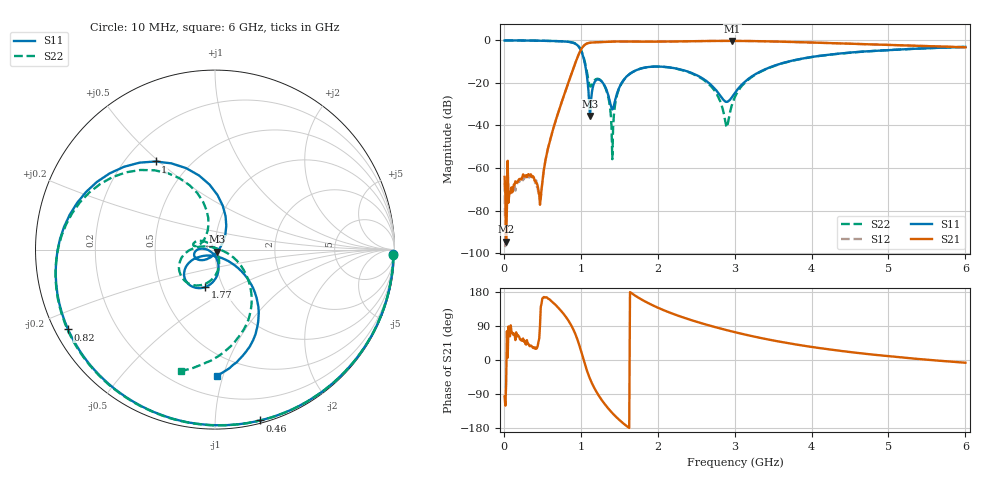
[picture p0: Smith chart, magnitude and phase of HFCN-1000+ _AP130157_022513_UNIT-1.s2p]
!Mini-Circuits Laboratory
!S-Parameters
!Model:HFCN-1000+
!Run/Lot/Date Code: CS0100//N/A
!DATA FOR: UNIT# 1
!Fixture/SN/Due: N/A
!Connection: PORT-1 - pin<1>; PORT-2 - pin<3>
!PORT EXTENSION IS DONE ON TEST BOARD(TB-270)
!Created: 02-25-2013 at 10:37 AM
# MHZ S DB R 50
!Frequency  S11 dB  S11 DEG  S21 dB  S21 DEG  S12 dB  S12 DEG  S22 dB  S22 DEG
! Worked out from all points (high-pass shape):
!   600 points, 10 MHz to 6 GHz, reference 50 ohm
!   highest |S21| = -0.24 dB at 2.97 GHz (marker M1); lowest = -94.7 dB at 30 MHz (marker M2)
!   |S21| within 3 dB of the highest: 1.023 GHz to 5.993 GHz (4.971 GHz wide, 142 % of centre)
!   lowest |S11| = -35.5 dB at 1.12 GHz (marker M3), VSWR 1.03, Z = 51.1 - j1.25 ohm
!   |S11| at or under -10 dB: 1.048 GHz to 3.693 GHz (2.645 GHz wide, 112 % of centre)
!   |S22| runs from -55.9 to 0.0 dB; largest |S21 - S12| = 0.0014
!   S11 on the Smith chart (normalised r, x): 10 MHz: 15, -70; 460 MHz: 0.02, -1.30; 820 MHz: 0.04, -0.25; 1 GHz: 0.32, +0.49; 1.77 GHz: 0.83, -0.36; 6 GHz: 0.35, -0.95
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10  -0.05 -1.6  -64.16 -96.2  -67.00 -171.6  -0.05 -1.6
30  -0.04 -4.8  -94.67 -62.3  -81.86 148.3  -0.05 -4.8
310  -0.07 -49.9  -63.33 43.0  -63.52 39.0  -0.07 -50.4
460  -0.13 -75.2  -72.47 56.7  -71.99 60.4  -0.14 -76.0
820  -0.61 -151.5  -21.84 109.9  -21.84 109.9  -0.58 -150.7
920  -1.41 171.4  -11.57 73.1  -11.57 73.2  -1.33 174.8
1000  -4.56 124.0  -4.57 26.4  -4.57 26.4  -4.33 133.1
1010  -5.38 116.8  -3.92 19.4  -3.93 19.4  -5.10 127.3
1120  -35.54 -46.8  -1.10 -49.6  -1.10 -49.6  -21.58 135.1
1300  -20.66 178.8  -0.70 -113.3  -0.71 -113.3  -20.79 147.8
1410  -32.47 -132.5  -0.56 -139.9  -0.56 -139.9  -55.85 37.3
1530  -20.10 -78.5  -0.52 -163.3  -0.52 -163.3  -20.29 -77.2
1770  -13.35 -104.3  -0.59 162.0  -0.59 162.0  -13.38 -112.3
2010  -12.30 -126.5  -0.59 137.3  -0.58 137.3  -12.33 -137.2
2630  -19.02 -156.2  -0.30 93.4  -0.30 93.4  -19.44 173.4
2890  -28.90 -103.1  -0.24 79.2  -0.24 79.1  -40.04 92.4
2970  -26.46 -62.5  -0.24 75.1  -0.24 75.0  -29.85 -1.9
3010  -24.42 -51.1  -0.24 73.1  -0.24 73.1  -26.14 -10.5
3340  -14.55 -39.2  -0.38 58.1  -0.38 58.1  -14.72 -33.8
4010  -7.75 -53.7  -1.01 34.2  -1.01 34.2  -7.80 -61.4
5010  -4.52 -73.1  -2.14 9.8  -2.14 9.7  -4.53 -88.1
6000  -3.08 -89.1  -3.24 -7.2  -3.24 -7.2  -3.05 -105.8
